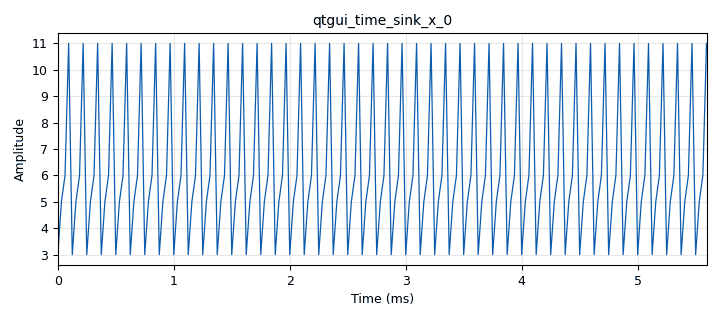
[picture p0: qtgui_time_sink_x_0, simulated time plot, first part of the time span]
options:
  parameters:
    author: yasht
    generate_options: qt_gui
    id: priyalgg
    output_language: python
    title: Not titled yet
  states: {}

blocks:
- name: poiu
  id: variable
  parameters:
    value: (3,5,6,11)
  states: {}
- name: samp_rate
  id: variable
  parameters:
    value: '32000'
  states: {}
- name: blocks_throttle2_0
  id: blocks_throttle2
  parameters:
    samples_per_second: samp_rate
    type: float
  states: {}
- name: blocks_vector_source_x_0
  id: blocks_vector_source_x
  parameters:
    repeat: 'True'
    type: float
    vector: poiu
  states: {}
- name: qtgui_time_sink_x_0
  id: qtgui_time_sink_x
  parameters:
    autoscale: 'True'
    grid: 'True'
    size: '1024'
    srate: samp_rate
    type: float
  states: {}

connections:
- [blocks_throttle2_0, '0', qtgui_time_sink_x_0, '0']
- [blocks_vector_source_x_0, '0', blocks_throttle2_0, '0']

metadata:
  file_format: 1
  grc_version: 3.10.12.0
